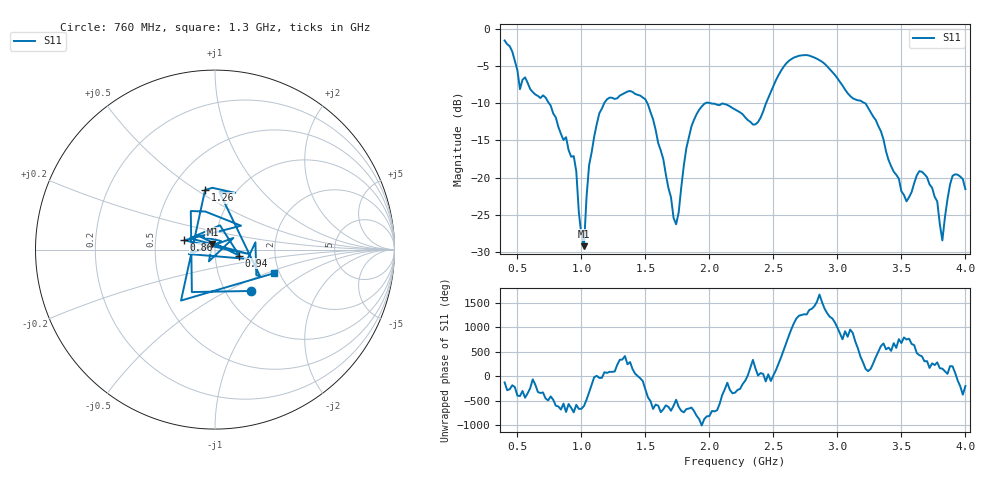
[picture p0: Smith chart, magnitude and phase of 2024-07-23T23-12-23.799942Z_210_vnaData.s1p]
!Created with skrf (http://scikit-rf.org).
# Hz S RI R 50.0
!freq ReS11 ImS11
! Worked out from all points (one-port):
!   181 points, 400 MHz to 4 GHz, reference 50 ohm
!   lowest |S11| = -29.2 dB at 1.02 GHz (marker M1), VSWR 1.07, Z = 48.5 + j3.07 ohm
!   |S11| at or under -10 dB: 1.515 GHz to 1.97 GHz (455.1 MHz wide, 26.1 % of centre); 2.009 GHz to 2.443 GHz (433.9 MHz wide, 19.5 % of centre); 3.215 GHz to end of sweep (the widest 3 of 4)
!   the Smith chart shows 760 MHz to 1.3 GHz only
!   S11 on the Smith chart (normalised r, x): 760 MHz: 1.31, -0.66; 860 MHz: 0.70, +0.08; 940 MHz: 1.31, -0.09; 1.26 GHz: 0.72, +0.54; 1.3 GHz: 1.88, -0.56
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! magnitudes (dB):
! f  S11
! 400 MHz  -1.6
! 520 MHz  -8.1
! 760 MHz  -10.3
! 860 MHz  -14.9
! 940 MHz  -17.1
! 1.02 GHz  -29.2
! 1.06 GHz  -18.3
! 1.12 GHz  -12.8
! 1.26 GHz  -9.4
! 1.3 GHz  -9.0
! 1.5 GHz  -9.5
! 1.64 GHz  -17.5
! 1.72 GHz  -25.4
! 1.76 GHz  -24.7
! 1.82 GHz  -16.0
! 1.9 GHz  -11.5
! 2.2 GHz  -10.8
! 2.36 GHz  -12.8
! 2.66 GHz  -3.9
! 2.88 GHz  -4.4
! 3.1 GHz  -9.0
! 3.3 GHz  -12.3
! 3.56 GHz  -22.6
! 3.7 GHz  -19.9
! 3.78 GHz  -23.2
! 3.82 GHz  -28.4
! 3.9 GHz  -19.8
! 4 GHz  -21.6
